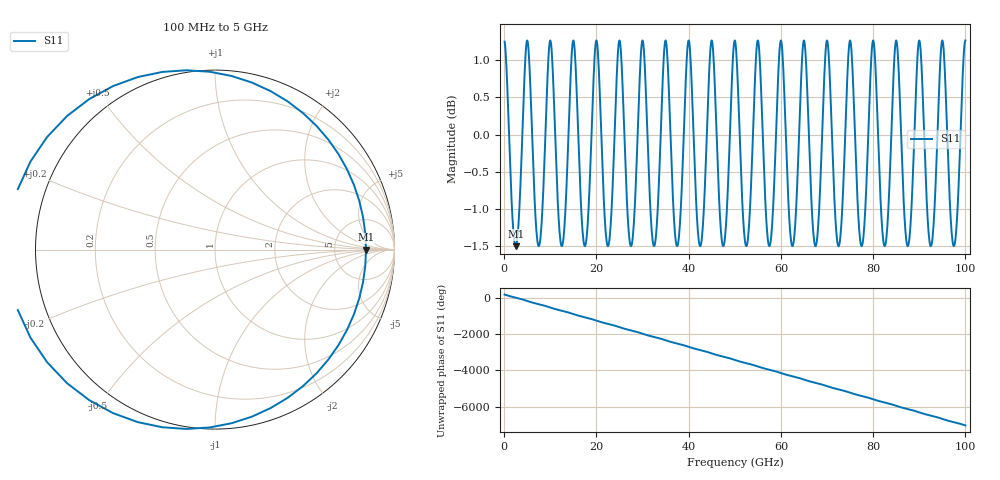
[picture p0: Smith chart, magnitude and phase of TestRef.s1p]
! File created by SignalIntegrity v1.1.8: Signal and Power Integrity Tools
! https://github.com/TeledyneLeCroy/SignalIntegrity
# MHz MA S R 50.0
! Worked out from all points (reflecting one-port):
!   1000 points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, 100 MHz to 100 GHz, reference 50 ohm
!   lowest |S11| = -1.5 dB at 2.5 GHz (marker M1), VSWR 11.61, Z = 581 + j0 ohm
!   phase of S11 starts at 171 deg and turns -7191 deg over the sweep
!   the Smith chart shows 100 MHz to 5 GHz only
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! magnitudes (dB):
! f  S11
! 100 MHz  1.3
! 2.5 GHz  -1.5
! 5 GHz  1.3
! 7.3 GHz  -1.5
! 10 GHz  1.3
! 12.6 GHz  -1.5
! 14.9 GHz  1.3
! 17.5 GHz  -1.5
! 25.1 GHz  1.3
! 27.4 GHz  -1.5
! 30 GHz  1.3
! 32.3 GHz  -1.5
! 37.6 GHz  -1.5
! 39.9 GHz  1.3
! 42.5 GHz  -1.5
! 50.1 GHz  1.3
! 52.4 GHz  -1.5
! 55 GHz  1.3
! 62.6 GHz  -1.5
! 64.9 GHz  1.3
! 67.5 GHz  -1.5
! 75.1 GHz  1.3
! 77.4 GHz  -1.5
! 80 GHz  1.3
! 87.6 GHz  -1.5
! 90 GHz  1.3
! 97.6 GHz  -1.5
! 100 GHz  1.3
